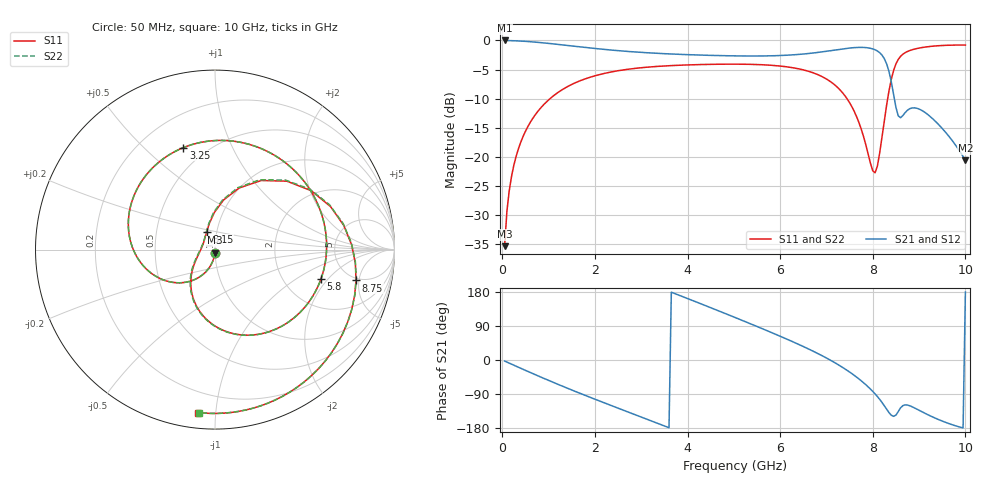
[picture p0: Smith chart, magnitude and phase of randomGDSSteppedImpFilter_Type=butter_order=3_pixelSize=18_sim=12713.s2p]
! freq	dB(S11)	phase(S11)	dB(S12)	phase(S12)
!  dB(S21)	phase(S21)	dB(S22)	phase(S22)
!S-par simulation data
#  GHz  S  DB  R 50
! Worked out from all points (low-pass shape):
!   200 points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, 50 MHz to 10 GHz, reference 50 ohm
!   highest |S21| = 0.00 dB at 50 MHz (marker M1); lowest = -20.6 dB at 10 GHz (marker M2)
!   |S21| within 3 dB of the highest: start of sweep to 8.239 GHz
!   lowest |S11| = -35.3 dB at 50 MHz (marker M3), VSWR 1.04, Z = 49.9 - j1.71 ohm
!   |S11| at or under -10 dB: start of sweep to 1.029 GHz; 7.444 GHz to 8.322 GHz (877.6 MHz wide, 11.1 % of centre)
!   |S22| runs from -35.3 to -0.8 dB; largest |S21 - S12| = 0
!   S11 on the Smith chart (normalised r, x): 50 MHz: 1.00, -0.03; 3.25 GHz: 0.38, +0.67; 5.8 GHz: 3.20, -1.69; 8.15 GHz: 0.89, +0.18; 8.75 GHz: 4.68, -4.56; 10 GHz: 0.08, -0.90
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0.05  -35.29 -92.7  -0.00 -2.8  -0.00 -2.8  -35.30 -92.7
0.1  -29.28 -95.6  -0.01 -5.6  -0.01 -5.6  -29.28 -95.6
0.2  -23.30 -101.4  -0.04 -11.1  -0.04 -11.1  -23.30 -101.4
0.5  -15.58 -117.9  -0.16 -27.4  -0.16 -27.4  -15.60 -118.0
1.1  -9.53 -149.6  -0.59 -59.0  -0.59 -59.0  -9.53 -149.6
1.75  -6.71 177.9  -1.17 -91.4  -1.17 -91.4  -6.71 177.9
2.45  -5.26 144.6  -1.72 -124.8  -1.72 -124.8  -5.26 144.6
3.25  -4.51 107.2  -2.17 -162.2  -2.17 -162.2  -4.51 107.2
3.4  -4.43 100.1  -2.23 -169.3  -2.23 -169.3  -4.43 100.1
4.2  -4.15 62.3  -2.49 152.6  -2.49 152.6  -4.15 62.3
5.05  -4.07 21.3  -2.65 111.0  -2.65 111.0  -4.07 21.3
5.8  -4.26 -15.6  -2.64 73.2  -2.64 73.2  -4.26 -15.8
6.7  -5.52 -63.0  -2.17 24.0  -2.17 24.0  -5.52 -63.4
7.15  -7.44 -90.3  -1.68 -4.9  -1.68 -4.9  -7.45 -90.8
7.5  -10.69 -115.0  -1.31 -31.8  -1.31 -31.8  -10.70 -115.9
8  -22.37 174.5  -1.45 -82.8  -1.45 -82.8  -22.19 172.7
8.15  -19.27 115.3  -2.10 -104.0  -2.10 -104.0  -19.14 115.9
8.35  -8.66 68.6  -5.33 -138.7  -5.33 -138.7  -8.69 69.7
8.55  -3.26 20.4  -12.94 -136.2  -12.94 -136.2  -3.28 21.4
8.75  -1.89 -12.3  -11.97 -118.9  -11.97 -118.9  -1.90 -11.5
9.3  -0.98 -59.4  -13.47 -150.8  -13.47 -150.8  -0.98 -58.9
10  -0.79 -96.0  -20.58 179.4  -20.58 179.4  -0.79 -95.5
